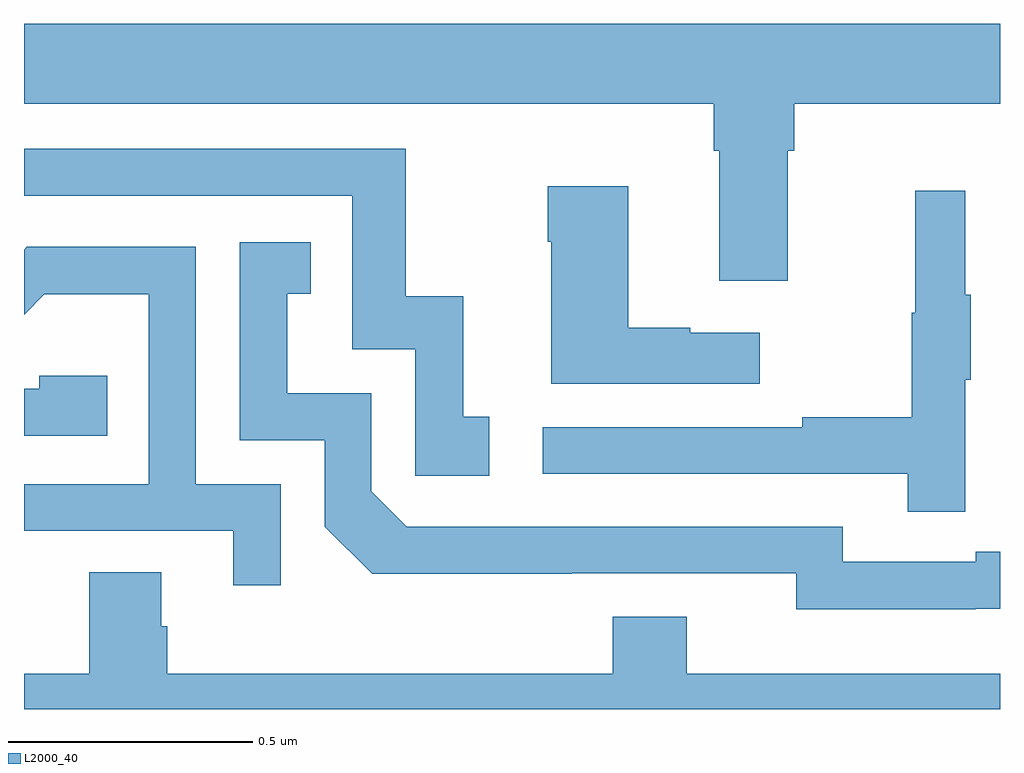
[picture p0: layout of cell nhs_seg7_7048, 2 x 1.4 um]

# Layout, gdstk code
import gdstk
lib = gdstk.Library(unit=1e-6, precision=1e-09)
def P(c, l, *ps):  # polygons
    for p in ps: c.add(gdstk.Polygon(p, *l))
L2000_40 = (2000, 40)

nhs_seg7_7048 = lib.new_cell('nhs_seg7_7048')
P(nhs_seg7_7048, L2000_40, [(207.565,1043.144),(207.578,1043.144),(207.578,1043.24),(208,1043.24),(208,1043.404),(206,1043.404),(206,1043.24),(207.413,1043.24),(207.413,1043.144),(207.425,1043.144),(207.425,1042.878),(207.565,1042.878)],
  [(206.953,1042.599),(206.9,1042.599),(206.9,1042.846),(206.782,1042.846),(206.782,1043.148),(206,1043.148),(206,1043.052),(206.673,1043.052),(206.673,1042.737),(206.802,1042.737),(206.802,1042.478),(206.953,1042.478)],
  [(207.508,1042.771),(207.365,1042.771),(207.365,1042.781),(207.238,1042.781),(207.238,1043.071),(207.073,1043.071),(207.073,1042.958),(207.08,1042.958),(207.08,1042.667),(207.508,1042.667)],
  [(207.929,1042.675),(207.94,1042.675),(207.94,1042.849),(207.929,1042.849),(207.929,1043.062),(207.826,1043.062),(207.826,1042.812),(207.819,1042.812),(207.819,1042.598),(207.595,1042.598),(207.595,1042.578),(207.063,1042.578),(207.063,1042.482),(207.811,1042.482),(207.811,1042.404),(207.929,1042.404)],
  [(207.95,1042.206),(208,1042.206),(208,1042.322),(207.95,1042.322),(207.95,1042.302),(207.678,1042.302),(207.678,1042.374),(206.784,1042.374),(206.712,1042.446),(206.712,1042.647),(206.539,1042.647),(206.539,1042.851),(206.588,1042.851),(206.588,1042.957),(206.442,1042.957),(206.442,1042.551),(206.616,1042.551),(206.616,1042.374),(206.714,1042.277),(207.122,1042.277),(207.122,1042.278),(207.582,1042.278),(207.582,1042.205),(207.95,1042.205)],
  [(206.526,1042.461),(206.352,1042.461),(206.352,1042.947),(206.006,1042.947),(206,1042.941),(206,1042.808),(206.042,1042.85),(206.256,1042.85),(206.256,1042.461),(206,1042.461),(206,1042.365),(206.429,1042.365),(206.429,1042.254),(206.526,1042.254)],
  [(206.171,1042.683),(206.031,1042.683),(206.031,1042.656),(206,1042.656),(206,1042.56),(206.171,1042.56)],
  [(208,1042.072),(207.358,1042.072),(207.358,1042.189),(207.206,1042.189),(207.206,1042.072),(206.294,1042.072),(206.294,1042.17),(206.281,1042.17),(206.281,1042.28),(206.134,1042.28),(206.134,1042.072),(206,1042.072),(206,1042),(208,1042)])

lib.write_gds('nhs_seg7_7048.gds')
